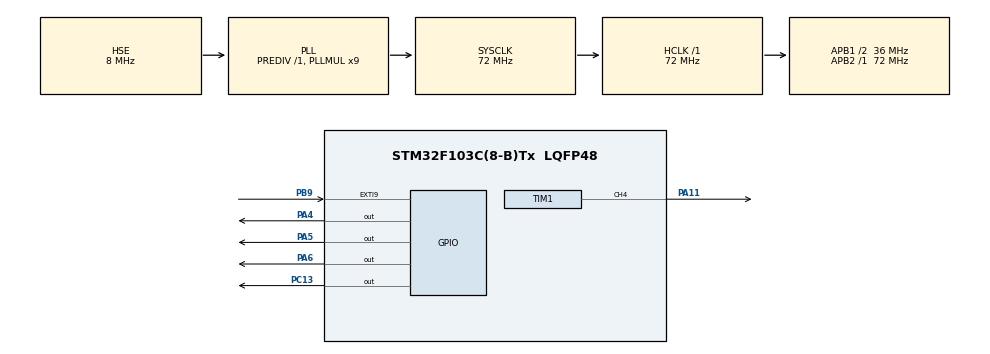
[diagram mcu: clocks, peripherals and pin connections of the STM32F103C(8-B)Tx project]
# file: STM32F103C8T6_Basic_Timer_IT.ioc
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Dma.Request0=TIM1_UP
Dma.TIM1_UP.0.Direction=DMA_MEMORY_TO_PERIPH
Dma.TIM1_UP.0.Instance=DMA1_Channel5
Dma.TIM1_UP.0.MemDataAlignment=DMA_MDATAALIGN_WORD
Dma.TIM1_UP.0.MemInc=DMA_MINC_ENABLE
Dma.TIM1_UP.0.Mode=DMA_CIRCULAR
Dma.TIM1_UP.0.PeriphDataAlignment=DMA_PDATAALIGN_WORD
Dma.TIM1_UP.0.PeriphInc=DMA_PINC_DISABLE
Dma.TIM1_UP.0.Priority=DMA_PRIORITY_HIGH
Mcu.Family=STM32F1
Mcu.Name=STM32F103C(8-B)Tx
Mcu.Package=LQFP48
NVIC.DMA1_Channel5_IRQn=true\:0\:0\:false\:false\:true\:false\:true\:true
NVIC.PriorityGroup=NVIC_PRIORITYGROUP_4
PA11.Signal=S_TIM1_CH4
PA13.Mode=Serial_Wire
PA13.Signal=SYS_JTMS-SWDIO
PA14.Mode=Serial_Wire
PA14.Signal=SYS_JTCK-SWCLK
PA4.Signal=GPIO_Output
PA5.Signal=GPIO_Output
PA6.Signal=GPIO_Output
PB9.Signal=GPXTI9
PC13-TAMPER-RTC.Signal=GPIO_Output
PC14-OSC32_IN.Mode=LSE-External-Oscillator
PC14-OSC32_IN.Signal=RCC_OSC32_IN
PC15-OSC32_OUT.Mode=LSE-External-Oscillator
PC15-OSC32_OUT.Signal=RCC_OSC32_OUT
PD0-OSC_IN.Mode=HSE-External-Oscillator
PD0-OSC_IN.Signal=RCC_OSC_IN
PD1-OSC_OUT.Mode=HSE-External-Oscillator
PD1-OSC_OUT.Signal=RCC_OSC_OUT
ProjectManager.HeapSize=0x200
ProjectManager.StackSize=0x400
ProjectManager.TargetToolchain=STM32CubeIDE
RCC.AHBFreq_Value=72000000
RCC.APB1CLKDivider=RCC_HCLK_DIV2
RCC.APB1Freq_Value=36000000
RCC.APB1TimFreq_Value=72000000
RCC.APB2Freq_Value=72000000
RCC.APB2TimFreq_Value=72000000
RCC.EnbaleCSS=true
RCC.HCLKFreq_Value=72000000
RCC.PLLMUL=RCC_PLL_MUL9
RCC.PLLSourceVirtual=RCC_PLLSOURCE_HSE
RCC.SYSCLKFreq_VALUE=72000000
RCC.SYSCLKSource=RCC_SYSCLKSOURCE_PLLCLK
RCC.USBFreq_Value=72000000
SH.S_TIM1_CH4.0=TIM1_CH4,PWM Generation4 CH4
TIM1.AutoReloadPreload=TIM_AUTORELOAD_PRELOAD_DISABLE
TIM1.Channel-PWM\ Generation4\ CH4=TIM_CHANNEL_4
TIM1.OCPolarity_4=TIM_OCPOLARITY_LOW
TIM1.Period=100 - 1
TIM1.Prescaler=72 - 1
TIM1.Pulse-PWM\ Generation4\ CH4=0
TIM1.RepetitionCounter=0
board=custom

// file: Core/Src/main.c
/* USER CODE BEGIN Header */
/**
  ******************************************************************************
  * @file           : main.c
  * @brief          : Main program body
  ******************************************************************************
  * @attention
  *
  * Copyright (c) 2026 STMicroelectronics.
  * All rights reserved.
  *
  * This software is licensed under terms that can be found in the LICENSE file
  * in the root directory of this software component.
  * If no LICENSE file comes with this software, it is provided AS-IS.
  *
  ******************************************************************************
  */
/* USER CODE END Header */
#include "main.h"

TIM_HandleTypeDef htim1;
DMA_HandleTypeDef hdma_tim1_up;

/* USER CODE BEGIN PV */
/* TIM1_CH4 duty-cycle sequence */
uint32_t aCCValue_Buffer[3] = {0, 0, 0};

/* Timer auto-reload value */
uint32_t uwTimerPeriod  = 0;
/* USER CODE END PV */

void SystemClock_Config(void);
static void MX_GPIO_Init(void);
static void MX_DMA_Init(void);
static void MX_TIM1_Init(void);
/* USER CODE BEGIN PFP */
static void DMA_TransferErrorCallback(DMA_HandleTypeDef *hdma);

/* USER CODE END PFP */

/* USER CODE BEGIN 0 */
static void DMA_TransferErrorCallback(DMA_HandleTypeDef *hdma)
{
  (void)hdma;
  Error_Handler();
}

/* USER CODE END 0 */

int main(void)
{

  /* USER CODE BEGIN 1 */
  /* With HSE=8 MHz, PLL x9, PSC=71 and ARR=99:
   * fPWM = 72 MHz / ((71+1) * (99+1)) = 10 kHz
   */
  uwTimerPeriod = 100U - 1U;
  /* Compute CH4 duty cycle values for 75%, 50% and 25% */
  aCCValue_Buffer[0] = (75U * (uwTimerPeriod + 1U)) / 100U;
  aCCValue_Buffer[1] = (50U * (uwTimerPeriod + 1U)) / 100U;
  aCCValue_Buffer[2] = (25U * (uwTimerPeriod + 1U)) / 100U;
  /* USER CODE END 1 */

  /* MCU Configuration--------------------------------------------------------*/

  /* Reset of all peripherals, Initializes the Flash interface and the Systick. */
  HAL_Init();

  /* Configure the system clock */
  SystemClock_Config();

  /* Initialize all configured peripherals */
  MX_GPIO_Init();
  MX_DMA_Init();
  MX_TIM1_Init();
  /* USER CODE BEGIN 2 */

  hdma_tim1_up.XferErrorCallback = DMA_TransferErrorCallback;

  if (HAL_DMA_Start_IT(&hdma_tim1_up,
                       (uint32_t)aCCValue_Buffer,
                       (uint32_t)&TIM1->CCR4,
                       (uint32_t)(sizeof(aCCValue_Buffer) / sizeof(aCCValue_Buffer[0]))) != HAL_OK)
    {
      Error_Handler();
    }

  __HAL_TIM_ENABLE_DMA(&htim1, TIM_DMA_UPDATE);

  if (HAL_TIM_PWM_Start(&htim1, TIM_CHANNEL_4) != HAL_OK)
    {
      Error_Handler();
    }
  /* USER CODE END 2 */

  /* Infinite loop */
  while (1)
  {

  }
}

void SystemClock_Config(void)
{
  RCC_OscInitTypeDef RCC_OscInitStruct = {0};
  RCC_ClkInitTypeDef RCC_ClkInitStruct = {0};

  /** Initializes the RCC Oscillators according to the specified parameters
  * in the RCC_OscInitTypeDef structure.
  */
  RCC_OscInitStruct.OscillatorType = RCC_OSCILLATORTYPE_HSE;
  RCC_OscInitStruct.HSEState = RCC_HSE_ON;
  RCC_OscInitStruct.HSEPredivValue = RCC_HSE_PREDIV_DIV1;
  RCC_OscInitStruct.HSIState = RCC_HSI_ON;
  RCC_OscInitStruct.PLL.PLLState = RCC_PLL_ON;
  RCC_OscInitStruct.PLL.PLLSource = RCC_PLLSOURCE_HSE;
  RCC_OscInitStruct.PLL.PLLMUL = RCC_PLL_MUL9;
  if (HAL_RCC_OscConfig(&RCC_OscInitStruct) != HAL_OK)
  {
    Error_Handler();
  }

  /** Initializes the CPU, AHB and APB buses clocks
  */
  RCC_ClkInitStruct.ClockType = RCC_CLOCKTYPE_HCLK|RCC_CLOCKTYPE_SYSCLK
                              |RCC_CLOCKTYPE_PCLK1|RCC_CLOCKTYPE_PCLK2;
  RCC_ClkInitStruct.SYSCLKSource = RCC_SYSCLKSOURCE_PLLCLK;
  RCC_ClkInitStruct.AHBCLKDivider = RCC_SYSCLK_DIV1;
  RCC_ClkInitStruct.APB1CLKDivider = RCC_HCLK_DIV2;
  RCC_ClkInitStruct.APB2CLKDivider = RCC_HCLK_DIV1;

  if (HAL_RCC_ClockConfig(&RCC_ClkInitStruct, FLASH_LATENCY_2) != HAL_OK)
  {
    Error_Handler();
  }

  /** Enables the Clock Security System
  */
  HAL_RCC_EnableCSS();
}

static void MX_TIM1_Init(void)
{

  TIM_MasterConfigTypeDef sMasterConfig = {0};
  TIM_OC_InitTypeDef sConfigOC = {0};
  TIM_BreakDeadTimeConfigTypeDef sBreakDeadTimeConfig = {0};

  htim1.Instance = TIM1;
  htim1.Init.Prescaler = 72 - 1;
  htim1.Init.CounterMode = TIM_COUNTERMODE_UP;
  htim1.Init.Period = 100 - 1;
  htim1.Init.ClockDivision = TIM_CLOCKDIVISION_DIV1;
  htim1.Init.RepetitionCounter = 0;
  htim1.Init.AutoReloadPreload = TIM_AUTORELOAD_PRELOAD_DISABLE;
  if (HAL_TIM_PWM_Init(&htim1) != HAL_OK)
  {
    Error_Handler();
  }
  sMasterConfig.MasterOutputTrigger = TIM_TRGO_RESET;
  sMasterConfig.MasterSlaveMode = TIM_MASTERSLAVEMODE_DISABLE;
  if (HAL_TIMEx_MasterConfigSynchronization(&htim1, &sMasterConfig) != HAL_OK)
  {
    Error_Handler();
  }
  sConfigOC.OCMode = TIM_OCMODE_PWM1;
  sConfigOC.Pulse = 0;
  sConfigOC.OCPolarity = TIM_OCPOLARITY_LOW;
  sConfigOC.OCFastMode = TIM_OCFAST_DISABLE;
  sConfigOC.OCIdleState = TIM_OCIDLESTATE_RESET;
  sConfigOC.OCNIdleState = TIM_OCNIDLESTATE_RESET;
  if (HAL_TIM_PWM_ConfigChannel(&htim1, &sConfigOC, TIM_CHANNEL_4) != HAL_OK)
  {
    Error_Handler();
  }
  sBreakDeadTimeConfig.OffStateRunMode = TIM_OSSR_DISABLE;
  sBreakDeadTimeConfig.OffStateIDLEMode = TIM_OSSI_DISABLE;
  sBreakDeadTimeConfig.LockLevel = TIM_LOCKLEVEL_OFF;
  sBreakDeadTimeConfig.DeadTime = 0;
  sBreakDeadTimeConfig.BreakState = TIM_BREAK_DISABLE;
  sBreakDeadTimeConfig.BreakPolarity = TIM_BREAKPOLARITY_HIGH;
  sBreakDeadTimeConfig.AutomaticOutput = TIM_AUTOMATICOUTPUT_DISABLE;
  if (HAL_TIMEx_ConfigBreakDeadTime(&htim1, &sBreakDeadTimeConfig) != HAL_OK)
  {
    Error_Handler();
  }
  HAL_TIM_MspPostInit(&htim1);

}

static void MX_DMA_Init(void)
{

  /* DMA controller clock enable */
  __HAL_RCC_DMA1_CLK_ENABLE();

  /* DMA interrupt init */
  /* DMA1_Channel5_IRQn interrupt configuration */
  HAL_NVIC_SetPriority(DMA1_Channel5_IRQn, 0, 0);
  HAL_NVIC_EnableIRQ(DMA1_Channel5_IRQn);

}

static void MX_GPIO_Init(void)
{
  GPIO_InitTypeDef GPIO_InitStruct = {0};

  /* GPIO Ports Clock Enable */
  __HAL_RCC_GPIOC_CLK_ENABLE();
  __HAL_RCC_GPIOD_CLK_ENABLE();
  __HAL_RCC_GPIOA_CLK_ENABLE();
  __HAL_RCC_GPIOB_CLK_ENABLE();

  /*Configure GPIO pin Output Level */
  HAL_GPIO_WritePin(GPIOC, GPIO_PIN_13, GPIO_PIN_RESET);

  /*Configure GPIO pin Output Level */
  HAL_GPIO_WritePin(GPIOA, GPIO_PIN_4|GPIO_PIN_5|GPIO_PIN_6, GPIO_PIN_RESET);

  /*Configure GPIO pin : PC13 */
  GPIO_InitStruct.Pin = GPIO_PIN_13;
  GPIO_InitStruct.Mode = GPIO_MODE_OUTPUT_PP;
  GPIO_InitStruct.Pull = GPIO_NOPULL;
  GPIO_InitStruct.Speed = GPIO_SPEED_FREQ_LOW;
  HAL_GPIO_Init(GPIOC, &GPIO_InitStruct);

  /*Configure GPIO pins : PA4 PA5 PA6 */
  GPIO_InitStruct.Pin = GPIO_PIN_4|GPIO_PIN_5|GPIO_PIN_6;
  GPIO_InitStruct.Mode = GPIO_MODE_OUTPUT_PP;
  GPIO_InitStruct.Pull = GPIO_NOPULL;
  GPIO_InitStruct.Speed = GPIO_SPEED_FREQ_LOW;
  HAL_GPIO_Init(GPIOA, &GPIO_InitStruct);

  /*Configure GPIO pin : PB9 */
  GPIO_InitStruct.Pin = GPIO_PIN_9;
  GPIO_InitStruct.Mode = GPIO_MODE_IT_RISING;
  GPIO_InitStruct.Pull = GPIO_NOPULL;
  HAL_GPIO_Init(GPIOB, &GPIO_InitStruct);

}

void Error_Handler(void)
{
  __disable_irq();
  while (1)
  {
  }
}
